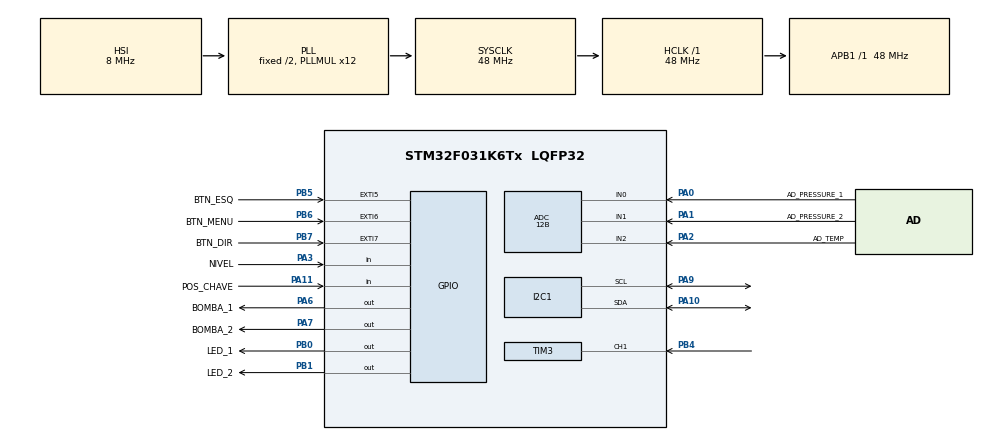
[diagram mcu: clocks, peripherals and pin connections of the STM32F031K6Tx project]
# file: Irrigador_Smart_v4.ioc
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ADC.ClockPrescaler=ADC_CLOCK_SYNC_PCLK_DIV4
ADC.ContinuousConvMode=ENABLE
ADC.DMAContinuousRequests=ENABLE
ADC.Resolution=ADC_RESOLUTION_12B
ADC.SamplingTime=ADC_SAMPLETIME_41CYCLES_5
Dma.ADC.0.Direction=DMA_PERIPH_TO_MEMORY
Dma.ADC.0.Instance=DMA1_Channel1
Dma.ADC.0.MemDataAlignment=DMA_MDATAALIGN_WORD
Dma.ADC.0.MemInc=DMA_MINC_ENABLE
Dma.ADC.0.Mode=DMA_CIRCULAR
Dma.ADC.0.PeriphDataAlignment=DMA_PDATAALIGN_WORD
Dma.ADC.0.PeriphInc=DMA_PINC_DISABLE
Dma.ADC.0.Priority=DMA_PRIORITY_LOW
Dma.Request0=ADC
Mcu.Family=STM32F0
Mcu.Name=STM32F031K6Tx
Mcu.Package=LQFP32
NVIC.ADC1_IRQn=true\:1\:0\:true\:false\:true\:true\:true\:true
NVIC.DMA1_Channel1_IRQn=true\:0\:0\:false\:false\:true\:false\:true\:true
NVIC.EXTI4_15_IRQn=true\:1\:0\:true\:false\:true\:true\:true\:true
NVIC.TIM2_IRQn=true\:1\:0\:true\:false\:true\:true\:true\:true
NVIC.TIM3_IRQn=true\:0\:0\:false\:false\:true\:true\:true\:true
PA0.GPIO_Label=AD_PRESSURE_1
PA0.Mode=IN0
PA0.Signal=ADC_IN0
PA1.GPIO_Label=AD_PRESSURE_2
PA1.Mode=IN1
PA1.Signal=ADC_IN1
PA10.Mode=I2C
PA10.Signal=I2C1_SDA
PA11.GPIO_Label=POS_CHAVE
PA11.Signal=GPIO_Input
PA13.Mode=Serial_Wire
PA13.Signal=SYS_SWDIO
PA14.Mode=Serial_Wire
PA14.Signal=SYS_SWCLK
PA2.GPIO_Label=AD_TEMP
PA2.Mode=IN2
PA2.Signal=ADC_IN2
PA3.GPIO_Label=NIVEL
PA3.Signal=GPIO_Input
PA6.GPIO_Label=BOMBA_1
PA6.Signal=GPIO_Output
PA7.GPIO_Label=BOMBA_2
PA7.Signal=GPIO_Output
PA9.Mode=I2C
PA9.Signal=I2C1_SCL
PB0.GPIO_Label=LED_1
PB0.Signal=GPIO_Output
PB1.GPIO_Label=LED_2
PB1.Signal=GPIO_Output
PB4.Signal=S_TIM3_CH1
PB5.GPIO_Label=BTN_ESQ
PB5.GPIO_ModeDefaultEXTI=GPIO_MODE_IT_FALLING
PB5.GPIO_PuPd=GPIO_NOPULL
PB5.Signal=GPXTI5
PB6.GPIO_Label=BTN_MENU
PB6.GPIO_ModeDefaultEXTI=GPIO_MODE_IT_FALLING
PB6.GPIO_PuPd=GPIO_NOPULL
PB6.Signal=GPXTI6
PB7.GPIO_Label=BTN_DIR
PB7.GPIO_ModeDefaultEXTI=GPIO_MODE_IT_FALLING
PB7.GPIO_PuPd=GPIO_NOPULL
PB7.Signal=GPXTI7
ProjectManager.HeapSize=0x200
ProjectManager.StackSize=0x400
ProjectManager.TargetToolchain=STM32CubeIDE
RCC.AHBFreq_Value=48000000
RCC.APB1Freq_Value=48000000
RCC.APB1TimFreq_Value=48000000
RCC.HCLKFreq_Value=48000000
RCC.PLLMUL=RCC_PLL_MUL12
RCC.SYSCLKFreq_VALUE=48000000
RCC.SYSCLKSource=RCC_SYSCLKSOURCE_PLLCLK
SH.S_TIM3_CH1.0=TIM3_CH1,Input_Capture1_from_TI1
TIM2.Period=100-1
TIM2.Prescaler=4800-1
TIM3.Channel-Input_Capture1_from_TI1=TIM_CHANNEL_1
TIM3.Period=0xFFFF-1
TIM3.Prescaler=1000-1
VP_TIM2_VS_ClockSourceINT.Mode=Internal
board=custom

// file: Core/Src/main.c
/* USER CODE BEGIN Header */
/**
 ******************************************************************************
 * @file           : main.c
 * @brief          : Main program body
 ******************************************************************************
 * @attention
 *
 * Copyright (c) 2022 STMicroelectronics.
 * All rights reserved.
 *
 * This software is licensed under terms that can be found in the LICENSE file
 * in the root directory of this software component.
 * If no LICENSE file comes with this software, it is provided AS-IS.
 *
 ******************************************************************************
 */
/* USER CODE END Header */
#include "main.h"
#include "adc.h"
#include "dma.h"
#include "i2c.h"
#include "tim.h"
#include "gpio.h"

/* USER CODE BEGIN Includes */
#include "u8g_com_arm_stm32.h" 	//---INCLUDES DISPLAY
#include "Display.h"
#include <stdio.h>
/* USER CODE END Includes */

/* USER CODE BEGIN PV */

int tabela_temp[22] = {98,460,821,1136,1427,1675,1898,2084,2246,2382,2481,2581,2655,2730,2779,2829,2866,2903,2928,2953,2965,2990};
int i = 1;

/*VARIAVEIS FUNCIONAMENTO DA EEPROM EMULADA*/
#define FLASH_USER_START_ADDR		ADDR_FLASH_PAGE_31   							/* Start @ of user Flash area */
#define FLASH_USER_DIAMETRO		(FLASH_USER_START_ADDR + (0x400-0x024)) 	/* endereço da variavel de DIAMETRO DE PNEU*/
#define FLASH_USER_LARGURA 		(FLASH_USER_START_ADDR + (0x400-0x01C)) 	/* endereço da variavel LARGURA BRACO PULVERIZADOR*/
#define FLASH_USER_VEL_MIN			(FLASH_USER_START_ADDR + (0x400-0x004)) 	/* endereço da variavel VELOCIADDE MINIMA*/
#define FLASH_USER_END_ADDR     	ADDR_FLASH_PAGE_31 + FLASH_PAGE_SIZE   	/* End @ of user Flash area */
//uint32_t Address 						= 0;
uint32_t PAGEError 						= 0;
//__IO uint32_t MemoryProgramStatus 		= 0;
static FLASH_EraseInitTypeDef EraseInitStruct;

//REVISAR
__IO float Pot_var;

/*_________CONTADORES_______________________________________________*/
__IO uint8_t  Cont_100ms		= 0;
__IO uint16_t Cont_500ms		= 0;
__IO uint16_t Cont_1000ms		= 0;
__IO uint16_t Cont_sem_click	= 0;

///*_________STRUCT INPUT_CAPTURE_____________________________________*/
//struct InputCapture_StateDef_t;

/*_________STRUCT CARRO_____________________________________________*/
Hibrido_StateDef_t Carro;

/*--VARIAVEL DE DISPLAY E ERRO I2C -----------------------------------------------------------------------------------*/
__IO uint32_t FLAG_ERRO_I2C 		= 0	;
__IO int Erro_display 				= 0	;
char		FLAG_TELA_ABERTURA		= 1	; // FLAG PARA ACIONAMENTO DE TELA DE ABERTURA
char		FLAG_ATUALIZA_TELA		= 1	; // FLAG LIBERA IMPRESSÃO EM DISPLAY
char		FLAG_TELA_BUSY				= 0	; // FLAG INDICA DISPLAY OCUPADO
char		FLAG_REFRESH				= 0	; // FLAG QUE SOLICITA ATUALIZAÇÃO DE TELA
char		Buff_Display[128]			= ""; // BUFF PARA IMPRESSÃO 1
u8g_t 		u8g				   			; // Instancia para uso do display
uint8_t 	Selecao_Tela_next			= TELA_PRINCIPAL	; // Próxima tela em fila
uint8_t 	Selecao_Tela				= 0	; // Tela atual utilizada para ser impressa

/*_________VARIAVEIS TEMPERATURA, PRESSAO 1 E PRESSAO 2_________________*/
__IO uint32_t	ADC_buff_1[3]		;	// BUFFER DE ARMAZENAMENTO DOS VALORES AD (valores de AD)/**/;

struct AD_read {
		__IO uint32_t	ADC_buff[3]	;	// BUFFER DE ARMAZENAMENTO DOS VALORES AD (valores de AD)/**/
		uint32_t 	Temperatura		;	// Valor de TEMPERATURA lido pelo AD (valor em Celsius)
		uint32_t 	Pressure_1		;	// Valor de PRESSAO 1 (valor em BAR)
		uint32_t 	Pressure_2		;	// Valor de PRESSAO 2 (valor em BAR)

}AD_read;

/*--VARIAVEIS BOTAO -------------------------------------------------------------------------------------------------*/
struct Type_Botao //64bytes
{
		uint16_t 	FLAG;
		uint16_t 	LAST_FLAG;
		uint16_t 	ContPress;
		uint16_t 	Cont_N_Press;
}Botao;
struct Type_Botao BTN_ESQ;
struct Type_Botao BTN_DIR;
struct Type_Botao BTN_MENU;

/* USER CODE END PV */

void SystemClock_Config(void);
/* USER CODE BEGIN PFP */
void Callback_100ms(void);
void Callback_500ms(void);
void Callback_1000ms(void);
void Callback_CURTO_PB_ESQ(void);
void Callback_LONGO_PB_ESQ(void);
void Callback_CURTO_PB_DIR(void);
void Callback_LONGO_PB_DIR(void);
void Callback_CURTO_PB_MENU(void);
void Callback_LONGO_PB_MENU(void);
void Controle_De_Telas(void);
void Grava_memoria(void);
void Atualiza_Variaveis (void);
void Write_in_flash_HIBRIDO(uint32_t Address_Var, uint32_t Value_Var );
/* USER CODE END PFP */

int main(void)
{

  /* MCU Configuration--------------------------------------------------------*/

  /* Reset of all peripherals, Initializes the Flash interface and the Systick. */
  HAL_Init();

  /* Configure the system clock */
  SystemClock_Config();

  /* Initialize all configured peripherals */
  MX_GPIO_Init();
  MX_DMA_Init();
  MX_ADC_Init();
  MX_I2C1_Init();
  MX_TIM2_Init();
  MX_TIM3_Init();
  /* USER CODE BEGIN 2 */
	HAL_TIM_Base_Start_IT	(&htim2) ;									// TIMER DE 10 MICRO segundos
	HAL_ADC_Start_DMA		(&hadc	,(uint32_t*)&ADC_buff_1, 3);		// ADC_DMA
	HAL_TIM_IC_Start_IT	(&htim3	,TIM_CHANNEL_1	);				// LEITURA RPM
	Atualiza_Variaveis();

	HAL_Delay(200);
	//INICIA O DISPLAY
	Inicia_display();

	//Carro.TEMPERATURA  = 1.15*(double)ADC_buff_1[0];

  /* USER CODE END 2 */

  /* Infinite loop */
	while (1)
	{

    /* USER CODE BEGIN 3 */
		Controle_De_Telas();

		if(i < 22)
		{//tabela_temp
			if(ADC_buff_1[2] > tabela_temp[(i-1)] && ADC_buff_1[2] < tabela_temp[i])
			{
				Carro.TEMPERATURA = i*5;
				i = 1;
			}
			else
			{
				i++;
			}
		}
		else
		{
			i = 1;
		}

		if(Carro.FLAG_bomba_2)
		{
			__NOP();
			M_BOMBA_2_ON
		}
		else
		{
			__NOP();
			M_BOMBA_2_OFF
		}

		if(Carro.Switch_bomba_1)
		{
			__NOP();
			M_BOMBA_1_ON
		}
		else
		{
			__NOP();
			M_BOMBA_1_OFF
		}
	}
  /* USER CODE END 3 */
}

void SystemClock_Config(void)
{
  RCC_OscInitTypeDef RCC_OscInitStruct = {0};
  RCC_ClkInitTypeDef RCC_ClkInitStruct = {0};
  RCC_PeriphCLKInitTypeDef PeriphClkInit = {0};

  /** Initializes the RCC Oscillators according to the specified parameters
  * in the RCC_OscInitTypeDef structure.
  */
  RCC_OscInitStruct.OscillatorType = RCC_OSCILLATORTYPE_HSI;
  RCC_OscInitStruct.HSIState = RCC_HSI_ON;
  RCC_OscInitStruct.HSICalibrationValue = RCC_HSICALIBRATION_DEFAULT;
  RCC_OscInitStruct.PLL.PLLState = RCC_PLL_ON;
  RCC_OscInitStruct.PLL.PLLSource = RCC_PLLSOURCE_HSI;
  RCC_OscInitStruct.PLL.PLLMUL = RCC_PLL_MUL12;
  RCC_OscInitStruct.PLL.PREDIV = RCC_PREDIV_DIV1;
  if (HAL_RCC_OscConfig(&RCC_OscInitStruct) != HAL_OK)
  {
    Error_Handler();
  }

  /** Initializes the CPU, AHB and APB buses clocks
  */
  RCC_ClkInitStruct.ClockType = RCC_CLOCKTYPE_HCLK|RCC_CLOCKTYPE_SYSCLK
                              |RCC_CLOCKTYPE_PCLK1;
  RCC_ClkInitStruct.SYSCLKSource = RCC_SYSCLKSOURCE_PLLCLK;
  RCC_ClkInitStruct.AHBCLKDivider = RCC_SYSCLK_DIV1;
  RCC_ClkInitStruct.APB1CLKDivider = RCC_HCLK_DIV1;

  if (HAL_RCC_ClockConfig(&RCC_ClkInitStruct, FLASH_LATENCY_1) != HAL_OK)
  {
    Error_Handler();
  }
  PeriphClkInit.PeriphClockSelection = RCC_PERIPHCLK_I2C1;
  PeriphClkInit.I2c1ClockSelection = RCC_I2C1CLKSOURCE_HSI;
  if (HAL_RCCEx_PeriphCLKConfig(&PeriphClkInit) != HAL_OK)
  {
    Error_Handler();
  }
}

/* USER CODE BEGIN 4 */

//--CALLBACK TIMERS -------------------------------------------------
void HAL_TIM_PeriodElapsedCallback(TIM_HandleTypeDef *htim)
{
	/*----------------------- TIM 2   PASSO DE 10 MILISEGUNDOS---------------------*/
	if (htim == &htim2 ){// 10 milisegundos

		//	identifica se O MOTOR APAGOU
		(Carro.Clock_rpm <2 ) ? (Carro.Incidencia_apagou++) : (Carro.Incidencia_apagou = 0);

		/*---ROTINA ANTI-TRAVAMENTO DE AQUISIÇÃO DE RPM VINDO DO SENSOR HALL---------*/
		if(Carro.IC.IC_compare1 == 0){
			if(Carro.IC.IC_compare_cont	<	10000)
				Carro.IC.IC_compare_cont++;
			if(Carro.IC.IC_compare_cont>200){
				Carro.IC.Frequency	 = 0;
				Carro.Clock_rpm 	 = 0;
				Carro.Clock_rpm_Conv = 0;
			}
		}
		else{
			Carro.IC.IC_compare_cont = 	0;
			Carro.IC.IC_compare1	 =	0;
		}

		/*PRESSIONAMENTO BTN_ESQ*/
		if(READ_ESQ){

			BTN_ESQ.Cont_N_Press =0;
			(BTN_ESQ.ContPress <= DEF_CLICK_LONGO) ? (BTN_ESQ.ContPress++) : 0;

			/*	PRESSIONAMENTO LENTO	*/
			if(BTN_ESQ.ContPress > DEF_CLICK_LONGO)
			{
				BTN_ESQ.ContPress 	= 80; // revisar teste
				BTN_ESQ.FLAG 		= 1;//PRESSIONAMENTO ESPECIFICO CANCELADO A BAIXO  //revisar teste
				Callback_CURTO_PB_ESQ();
			}

		}else
		{
			BTN_ESQ.FLAG 		= 0;
			BTN_ESQ.ContPress 	= 0;
		}

		/*PRESSIONAMENTO BTN_MENU*/
		if(READ_MENU){

			BTN_MENU.Cont_N_Press =0;
			(BTN_MENU.ContPress <= DEF_CLICK_LONGO) ? (BTN_MENU.ContPress++) : 0;

			/*	PRESSIONAMENTO LENTO	*/
			if(BTN_MENU.ContPress > DEF_CLICK_LONGO)
			{
				HAL_GPIO_EXTI_Callback(BTN_MENU_Pin);
			}

		}else
		{
			BTN_MENU.FLAG 		= 0;
			BTN_MENU.ContPress 	= 0;
		}

		/*PRESSIONAMENTO BTN_DIR*/
		if(READ_DIR){

			BTN_DIR.Cont_N_Press =0;
			(BTN_DIR.ContPress <= DEF_CLICK_LONGO) ? (BTN_DIR.ContPress++) : 0;

			//			/*	PRESSIONAMENTO LENTO	*/
			//			if(BTN_DIR.ContPress > DEF_CLICK_LONGO)
			//			{
			//				HAL_GPIO_EXTI_Callback(BTN_DIR_Pin);
			//			}
			/*	PRESSIONAMENTO LENTO	*/
			if(BTN_DIR.ContPress > DEF_CLICK_LONGO)
			{
				BTN_DIR.ContPress 	= 80; // revisar teste
				BTN_DIR.FLAG 		= 1;//PRESSIONAMENTO ESPECIFICO CANCELADO A BAIXO  //revisar teste
				Callback_CURTO_PB_DIR();
			}

		}else
		{
			BTN_DIR.FLAG 		= 0;
			BTN_DIR.ContPress 	= 0;
		}
	}
	/*----------------------- TIM 2   PASSO DE 100 MILISEGUNDOS---------------------*/
	if (htim == &htim2 ){// 100 milisegundos
		if(Cont_100ms<10)
		{
			Cont_100ms++;
		}
		else
		{
			Cont_100ms=0;

			Callback_100ms();
		}
	}
	/*----------------------- TIM 2   PASSO DE 500 MILISEGUNDOS---------------------*/
	if (htim == &htim2 ){// 500 milisegundos
		if(Cont_500ms<50)
		{
			Cont_500ms++;
		}
		else
		{
			Cont_500ms=0;
			Callback_500ms();
		}
	}
	/*----------------------- TIM 2   PASSO DE 1000 MILISEGUNDOS---------------------*/
	if (htim == &htim2 ){// 1000 milisegundos
		if(Cont_1000ms<100)
		{
			Cont_1000ms++;
		}
		else
		{
			Cont_1000ms=0;
			Callback_1000ms();
		}
	}
}

//--PASSO DE TEMPO DE 0.1 SEGUNDO------------------------------------
void Callback_100ms(void)
{

}//

//--PASSO DE TEMPO DE 0.5 SEGUNDO------------------------------------
void Callback_500ms(void)
{

}//

//--PASSO DE TEMPO DE 1 SEGUNDO--------------------------------------
void Callback_1000ms(void)
{

	//Coleta status do nivel
	Carro.Nivel = READ_NIVEL;

	//coleta da velocidade e conversao
	Carro.Velocidade_ms = ((float)Carro.Clock_rpm/DEF_NUM_DENTES) * ((float)Carro.Diametro_pneu/100)* 3.6 * 3.14 * 1/10;
	Carro.Velocidade_kmh = Carro.Velocidade_ms* 3.6;

	//BOMBA 1
	if(Carro.Switch_bomba_1 == 1)
	{
		Carro.FLAG_bomba_1 = 1;
		Carro.Delta_D_metros = Carro.Delta_D_metros +  Carro.Velocidade_ms;
		Carro.Delta_Area 		= Carro.Delta_Area + (Carro.Velocidade_ms * ( Carro.Comprimento_braco/100));
	}
	else
	{
		Carro.FLAG_bomba_1 = 0;
	}

	//liberacao de funcionamento das bombas
	if(Carro.Velocidade_kmh >= Carro.Velocidade_troca || Carro.MODO == 1)
	{

		//BOMBA DIREITA
		if(Carro.Switch_bomba_2 == 1)
		{
			Carro.FLAG_bomba_2 = 1;
			Carro.Delta_D_metros = Carro.Delta_D_metros +  Carro.Velocidade_ms;
			Carro.Delta_Area 		= Carro.Delta_Area + (Carro.Velocidade_ms * ( Carro.Comprimento_braco/100));
		}
		else
		{
			Carro.FLAG_bomba_2 = 0;
		}
	}
	else
	{
		//Carro.FLAG_bomba_1 = 0;
		Carro.FLAG_bomba_2 = 0;
	}

	Carro.Delta_Hect = Carro.Delta_Area / 10000;
	FLAG_REFRESH 		= 	1;
}//

//--CALLBACK INTERRUPÇÃO DO BOTÃO ----------------------rising-------
void HAL_GPIO_EXTI_Callback(uint16_t GPIO_Pin){

	switch (GPIO_Pin) {
		case BTN_ESQ_Pin:
			Cont_sem_click = 0;

			BTN_ESQ.Cont_N_Press = 0; //zera a contagem que é feita no timer de contagem

			/*	PRESSIONAMENTO CURTO	*/
			if(		BTN_ESQ.ContPress >= DEF_CLICK_CURTO 		&&
					BTN_ESQ.ContPress < DEF_CLICK_LONGO)//tempo de bounce a ser calculado ainda para evitar clique ruidoso
			{
				Callback_CURTO_PB_ESQ();
			}
			/*	PRESSIONAMENTO LENTO	*/
			else if(BTN_ESQ.ContPress >= DEF_CLICK_LONGO)//tempo de bounce a ser calculado ainda para evitar clique ruidoso
			{
				Callback_LONGO_PB_ESQ();
			}
			BTN_ESQ.ContPress	= 0;
			break;

		case BTN_MENU_Pin:
			Cont_sem_click = 0;

			BTN_MENU.Cont_N_Press = 0; //zera a contagem que é feita no timer de contagem

			/*	PRESSIONAMENTO CURTO	*/
			if(		BTN_MENU.ContPress >= DEF_CLICK_CURTO 		&&
					BTN_MENU.ContPress < DEF_CLICK_LONGO)//tempo de bounce a ser calculado ainda para evitar clique ruidoso
			{
				Callback_CURTO_PB_MENU();
			}
			/*	PRESSIONAMENTO LENTO	*/
			else if(BTN_MENU.ContPress >= DEF_CLICK_LONGO)//tempo de bounce a ser calculado ainda para evitar clique ruidoso
			{
				Callback_LONGO_PB_MENU();
			}
			BTN_MENU.ContPress	= 0;
			break;

		case BTN_DIR_Pin:
			Cont_sem_click = 0;

			BTN_DIR.Cont_N_Press = 0; //zera a contagem que é feita no timer de contagem

			/*	PRESSIONAMENTO CURTO	*/
			if(		BTN_DIR.ContPress >= DEF_CLICK_CURTO 		&&
					BTN_DIR.ContPress < DEF_CLICK_LONGO)//tempo de bounce a ser calculado ainda para evitar clique ruidoso
			{
				Callback_CURTO_PB_DIR();
			}
			/*	PRESSIONAMENTO LENTO	*/
			else if(BTN_DIR.ContPress >= DEF_CLICK_LONGO)//tempo de bounce a ser calculado ainda para evitar clique ruidoso
			{
				Callback_LONGO_PB_DIR();
			}
			BTN_DIR.ContPress	= 0;
			break;
	}
}

//--PRESSIONAMENTO_CURTO_PB_ESQ--------------------------------------
void Callback_CURTO_PB_ESQ(void)
{
	BTN_ESQ.ContPress	= 0;
	__NOP();
	switch (Selecao_Tela) {

		case TELA_PRINCIPAL:
			FLAG_REFRESH = 1;
			/*-DESATIVA BOMBA ESQUERDA-*/
			if(Carro.Switch_bomba_1==1)
			{
				Carro.Switch_bomba_1 = 0;
				M_LED_1_OFF
			}
			/*-  ATIVA BOMBA ESQUERDA-*/
			else
			{
				Carro.Switch_bomba_1 = 1;
				M_LED_1_ON
			}
			break;

		case TELA_DIAMETRO_PNEU:
			if(Carro.Diametro_pneu > DEF_LIMITE_DIAMETRO_MIN)
			{
				Carro.Diametro_pneu--;
			}
			else
			{
				Carro.Diametro_pneu=DEF_LIMITE_DIAMETRO_MAX;
			}

			FLAG_REFRESH = 1;
			break;

		case TELA_LARGURA_BRACO:
			if(Carro.Comprimento_braco > DEF_LIMITE_LARGURA_MIN)
			{
				Carro.Comprimento_braco--;
			}
			else
			{
				Carro.Comprimento_braco=DEF_LIMITE_LARGURA_MAX;
			}

			FLAG_REFRESH = 1;
			break;

		case TELA_VELOCIDADE_TROCA:
			if(Carro.Velocidade_troca > DEF_VELOCIDADE_MIN)
			{
				Carro.Velocidade_troca--;
			}
			else
			{
				Carro.Velocidade_troca=DEF_VELOCIDADE_MAX;
			}

			FLAG_REFRESH = 1;
			break;

		case TELA_MODO:
			Carro.MODO = !Carro.MODO;

			FLAG_REFRESH = 1;
			break;

		default:
			break;
	}
}//

//--PRESSIONAMENTO_LONGO_PB_ESQ--------------------------------------
void Callback_LONGO_PB_ESQ(void)
{
	BTN_ESQ.ContPress	= 0;
	__NOP();
}

//--PRESSIONAMENTO_CURTO_PB_DIR--------------------------------------
void Callback_CURTO_PB_DIR(void)
{
	BTN_DIR.ContPress	= 0;
	__NOP();
	switch (Selecao_Tela) {

		case TELA_PRINCIPAL:
			FLAG_REFRESH = 1;
			/*-DESATIVA BOMBA DIREITA-*/
			if(Carro.Switch_bomba_2==1)
			{
				Carro.Switch_bomba_2 = 0;
				M_LED_2_OFF
			}
			/*-  ATIVA BOMBA DIREITA-*/
			else
			{
				Carro.Switch_bomba_2 = 1;
				M_LED_2_ON
			}
			break;

		case TELA_DIAMETRO_PNEU:
			if(Carro.Diametro_pneu < DEF_LIMITE_DIAMETRO_MAX)
			{
				Carro.Diametro_pneu++;
			}
			else
			{
				Carro.Diametro_pneu = DEF_LIMITE_DIAMETRO_MIN;
			}
			FLAG_REFRESH = 1;
			break;

		case TELA_LARGURA_BRACO:
			if(Carro.Comprimento_braco < DEF_LIMITE_LARGURA_MAX)
			{
				Carro.Comprimento_braco+=10;
			}
			else
			{
				Carro.Comprimento_braco=DEF_LIMITE_LARGURA_MIN;
			}
			FLAG_REFRESH = 1;
			break;

		case TELA_VELOCIDADE_TROCA:
			if(Carro.Velocidade_troca < DEF_VELOCIDADE_MAX)
			{
				Carro.Velocidade_troca++;
			}
			else
			{
				Carro.Velocidade_troca=DEF_VELOCIDADE_MIN;
			}

			FLAG_REFRESH = 1;
			break;

		case TELA_MODO:
			Carro.MODO = !Carro.MODO;

			FLAG_REFRESH = 1;
			break;

			//Carro.Comprimento_braco

		default:
			break;
	}
}//

//--PRESSIONAMENTO_LONGO_PB_DIR--------------------------------------
void Callback_LONGO_PB_DIR(void)
{
	BTN_DIR.ContPress	= 0;
	__NOP();
}//

//--PRESSIONAMENTO_CURTO_PB_MENU-------------------------------------
void Callback_CURTO_PB_MENU(void)
{
	BTN_MENU.ContPress	= 0;
	__NOP();
	switch (Selecao_Tela) {

		case TELA_PRINCIPAL:
			Selecao_Tela_next = TELA_DIAMETRO_PNEU;
			break;
		case TELA_DIAMETRO_PNEU:
			Selecao_Tela_next = TELA_LARGURA_BRACO;
			Grava_memoria();//ATUALIZA MEMORIA QUANDO TROCADA A TELA
			break;
		case TELA_LARGURA_BRACO:
			Selecao_Tela_next = TELA_VELOCIDADE_TROCA;
			Grava_memoria();//ATUALIZA MEMORIA QUANDO TROCADA A TELA
			break;
		case TELA_VELOCIDADE_TROCA:
			Selecao_Tela_next = TELA_MODO;
			Grava_memoria();//ATUALIZA MEMORIA QUANDO TROCADA A TELA
			break;
		case TELA_MODO:
			Selecao_Tela_next = TELA_PRINCIPAL;
			Grava_memoria();//ATUALIZA MEMORIA QUANDO TROCADA A TELA
			break;
	}
	//Selecao_Tela_next
}//

//--PRESSIONAMENTO_LONGO_PB_MENU-------------------------------------
void Callback_LONGO_PB_MENU(void)
{
	BTN_MENU.ContPress	= 0;
	__NOP();
}//

//--CALLBACK PARA LEITURA DE FREQUENCIA -----------------------------
void HAL_TIM_IC_CaptureCallback(TIM_HandleTypeDef *htim){

	if (htim == &htim3 && htim->Channel == HAL_TIM_ACTIVE_CHANNEL_1){

		if (Carro.IC.Is_First_Captured==0) {// is the first value captured ?
			Carro.IC.Value1 = HAL_TIM_ReadCapturedValue(htim, TIM_CHANNEL_1);  // capture the first value
			Carro.IC.Is_First_Captured =1;  	// set the first value captured as true
		}

		else if (Carro.IC.Is_First_Captured) {// if the first is captured

			Carro.IC.Value2 = HAL_TIM_ReadCapturedValue(htim, TIM_CHANNEL_1);  // capture second value

			if (Carro.IC.Value2 > Carro.IC.Value1)
				Carro.IC.Difference = Carro.IC.Value2-Carro.IC.Value1;   // calculate the difference

			else if (Carro.IC.Value2 < Carro.IC.Value1)
				Carro.IC.Difference = ((0xffff-Carro.IC.Value1)+Carro.IC.Value2);
			//			else
			//				Error_Handler();

			Carro.IC.Frequency = HAL_RCC_GetPCLK1Freq()/Carro.IC.Difference/100;  // calculate frequency

			if(Carro.IC.Frequency > 3 && Carro.IC.Frequency < 100)//RANGE DE LEITURA ROTAÇÃO INDUTIVO
			{
//				for(int i=0 ; i<9 ; i++)
//				{
//					Carro.IC.Media[i] = Carro.IC.Media[i+1];
//				}
//				Carro.IC.Media[9] = Carro.IC.Frequency;
//				Carro.IC.Media_calculada=0;
//
//				for (int j = 0; j < 10; ++j) {
//					Carro.IC.Media_calculada = Carro.IC.Media[j]+Carro.IC.Media_calculada;
//				}
//				Carro.Clock_rpm = Carro.IC.Media_calculada/10; // SETA A VARIAVEL COM A MÉDIA FIFO

				Carro.Clock_rpm = Carro.IC.Frequency; // SETA A VARIAVEL COM A MÉDIA FIFO

				Carro.Clock_rpm_Conv = (float)Carro.Clock_rpm*(float)Carro.Correcao_rpm;
			}
			else
				Carro.Clock_rpm = 0;

			Carro.IC.Is_First_Captured 		= 0;  					// reset the first captured
			Carro.IC.IC_compare1			= 1;//controle de perca de rotação
		}
	}
}

//--CONTROLA ATUALIZAÇÃO DE TELA ------------------------------------
void Controle_De_Telas(void){

	/*------- CONTROLE DE TELAS---------------------------------------------------*/
	if(Selecao_Tela_next != Selecao_Tela){
		Selecao_Tela = Selecao_Tela_next;	//ATUALIZA PARA PRÓXIMA TELA
		FLAG_REFRESH = 1;					//SOLICITA ATUALIZAÇÃO DE TELA
	}

	/*	Se o display estiver ocupado, monta-se um sistema de "pilha" com as telas
	 *  Fazendo assim, uma impressão sem travamentos
	 *  Estrutura de funcionamento dada em 2 verificações
	 *  */
	// Primeira verificação de display
	if(FLAG_TELA_BUSY == 0 && FLAG_REFRESH){
		FLAG_REFRESH 		= 	0;			//RESETA FLAG DE LIBERAÇÃO DE TELA
		FLAG_ATUALIZA_TELA	=	1;			//LIBERA IMPRESSÃO EM DISPLAY
	}
	// Segunda verificação de display
	if(FLAG_ATUALIZA_TELA==1){

		FLAG_TELA_BUSY = 1;		//SETA DISPLAY COMO OCUPADO
		u8g_FirstPage(&u8g);
		do {

			switch (Selecao_Tela) {

				case TELA_PRINCIPAL:
					Draw_principal(&Carro);
					break;

				case TELA_DIAMETRO_PNEU:
					Tela_Menu_Raio(Carro.Diametro_pneu);
					break;

				case TELA_LARGURA_BRACO:
					Tela_Menu_braco(Carro.Comprimento_braco);
					break;

				case TELA_VELOCIDADE_TROCA:
					Tela_Menu_Vel_troca(Carro.Velocidade_troca);
					break;

				case TELA_MODO:
					Tela_Menu_Modo(Carro.MODO);
					break;
			}

		} while( u8g_NextPage(&u8g));

		FLAG_ATUALIZA_TELA = 0;		//RESETA LIBERAÇÃO DE IMPRESSÃO EM DISPLAY
		FLAG_TELA_BUSY = 0;			//DESOCUPA DISPLAY
	}

}//

//----------- FUNÇÃO DE GRAVAÇÃO NA MEMÓRIA -------------------------------------------
void Grava_memoria(void){
	/* Unlock the Flash to enable the flash control register access *************/
	HAL_FLASH_Unlock();

	/* Erase the user Flash area
		(area defined by FLASH_USER_START_ADDR and FLASH_USER_END_ADDR) ***********/

	/* Fill EraseInit structure*/
	EraseInitStruct.TypeErase   = FLASH_TYPEERASE_PAGES;
	EraseInitStruct.PageAddress = FLASH_USER_START_ADDR;
	EraseInitStruct.NbPages     = (FLASH_USER_END_ADDR - FLASH_USER_START_ADDR) / FLASH_PAGE_SIZE;

	/* Note: If an erase operation in Flash memory also concerns data in the data or instruction cache,
		 you have to make sure that these data are rewritten before they are accessed during code
		 execution. If this cannot be done safely, it is recommended to flush the caches by setting the
		 DCRST and ICRST bits in the FLASH_CR register. */
	if (HAL_FLASHEx_Erase(&EraseInitStruct, &PAGEError) != HAL_OK){
		/*
			Error occurred while page erase.
			User can add here some code to deal with this error.
			PAGEError will contain the faulty page and then to know the code error on this page,
			user can call function 'HAL_FLASH_GetError()'
		 */
		/* Infinite loop */
		while (1){

			/* Make LED3 blink (100ms on, 2s off) to indicate error in Erase operation */
			//MACRO_LED_ON
			HAL_Delay(100);
			//MACRO_LED_OFF
			HAL_Delay(2000);
		}
	}

	/* Program the user Flash area word by word
		(area defined by FLASH_USER_START_ADDR and FLASH_USER_END_ADDR) ***********/

	Write_in_flash_HIBRIDO(FLASH_USER_DIAMETRO	,Carro.Diametro_pneu);
	Write_in_flash_HIBRIDO(FLASH_USER_LARGURA		,Carro.Comprimento_braco);
	Write_in_flash_HIBRIDO(FLASH_USER_VEL_MIN		,Carro.Velocidade_troca);

	/* Lock the Flash to disable the flash control register access (recommended
		 to protect the FLASH memory against possible unwanted operation) *********/
	HAL_FLASH_Lock();

}

//----------- VERIFICA E ATUALIZA MEMORIAS PARA INICIO DO PROGRAMA---------------------
void Atualiza_Variaveis (void){

	__IO uint32_t VerificaMEM[3];

	VerificaMEM[0] = *(__IO uint32_t *)FLASH_USER_DIAMETRO;
	VerificaMEM[1] = *(__IO uint32_t *)FLASH_USER_LARGURA;
	VerificaMEM[2] = *(__IO uint32_t *)FLASH_USER_VEL_MIN;

	if( 	VerificaMEM[0] 	< DEF_LIMITE_DIAMETRO_MIN 	||		VerificaMEM[0]		> DEF_LIMITE_DIAMETRO_MAX 	||
			VerificaMEM[1] 	< DEF_LIMITE_LARGURA_MIN 	|| 	VerificaMEM[1] 	> DEF_LIMITE_LARGURA_MAX	||
			VerificaMEM[2] 	< DEF_VELOCIDADE_MIN			|| 	VerificaMEM[2]		> DEF_VELOCIDADE_MAX		  ){// reseta memoria

		/*DEFINIÇÕES DE FABRICA OU PÓS FORMAT*/

		Carro.Diametro_pneu  		= DEF_LIMITE_DIAMETRO_STD;
		Carro.Comprimento_braco 	= DEF_LIMITE_LARGURA_STD;
		Carro.Velocidade_troca	   = DEF_VELOCIDADE_STD;

		Grava_memoria();

	}
	else{//tudo certo

		Carro.Diametro_pneu 			= *(__IO uint32_t *)FLASH_USER_DIAMETRO;
		Carro.Comprimento_braco		= *(__IO uint32_t *)FLASH_USER_LARGURA;
		Carro.Velocidade_troca		= *(__IO uint32_t *)FLASH_USER_VEL_MIN;
	}
}

//----------- FUNÇÃO AUXILIAR MEMÓRIA -------------------------------------------------
void Write_in_flash_HIBRIDO(uint32_t Address_Var, uint32_t Value_Var ){
	if (HAL_FLASH_Program(FLASH_TYPEPROGRAM_WORD, Address_Var, Value_Var) != HAL_OK){// trocar pelo valor atribuido na IHM

		while (1){

			/* Make LED3 blink (100ms on, 2s off) to indicate error in Write operation */
			//	MACRO_LED_ON
			HAL_Delay(100);
			//	MACRO_LED_OFF
			HAL_Delay(2000);
		}
	}
}

//
/* USER CODE END 4 */

void Error_Handler(void)
{
	__disable_irq();
	while (1)
	{
	}
}
